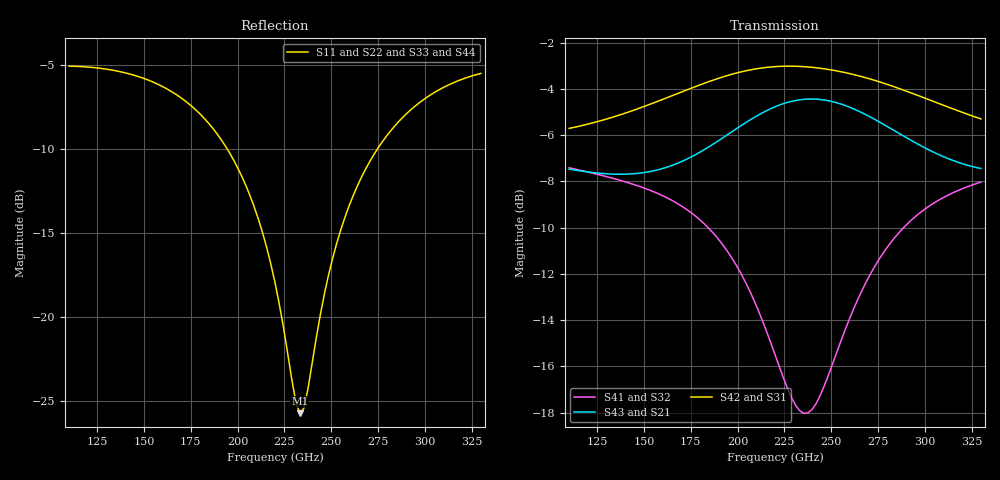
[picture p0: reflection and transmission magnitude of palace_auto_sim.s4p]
#  GHZ S DB R 50
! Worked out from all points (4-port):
!   101 points, 110 GHz to 330 GHz, reference 50 ohm
!   strongest paths, dB at 110 GHz, 165 GHz, 220 GHz, 275 GHz, 330 GHz:
!     S42: -5.7, -4.3, -3.0, -3.7, -5.3
!     S31: -5.7, -4.3, -3.0, -3.7, -5.3
!     S43: -7.5, -7.3, -4.8, -5.4, -7.4
!     S21: -7.5, -7.3, -4.8, -5.4, -7.4
!     S41: -7.4, -8.8, -15.5, -11.4, -8.0
!     S32: -7.4, -8.8, -15.5, -11.5, -8.0
!   lowest |S11| = -25.7 dB at 233.2 GHz (marker M1), VSWR 1.11, Z = 55.4 - j0.604 ohm
!   |S11| at or under -10 dB: 194.4 GHz to 274.8 GHz (80.46 GHz wide, 34.3 % of centre)
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110  -5.10 157.4  -7.47 -49.7  -5.71 -79.0  -7.41 -61.7
     -7.47 -49.7  -5.10 157.4  -7.41 -61.7  -5.71 -79.0
     -5.71 -79.0  -7.41 -61.7  -5.10 157.4  -7.47 -49.7
     -7.41 -61.7  -5.71 -79.0  -7.47 -49.7  -5.09 157.4
156.2  -6.11 133.1  -7.52 -61.2  -4.57 -113.7  -8.48 -88.0
       -7.52 -61.2  -6.11 133.1  -8.48 -88.0  -4.57 -113.7
       -4.57 -113.7  -8.48 -88.0  -6.11 133.1  -7.52 -61.1
       -8.48 -88.0  -4.57 -113.7  -7.52 -61.1  -6.10 133.1
191.4  -9.49 105.2  -6.15 -71.6  -3.50 -145.4  -10.67 -111.3
       -6.15 -71.6  -9.48 105.2  -10.66 -111.4  -3.50 -145.3
       -3.50 -145.4  -10.66 -111.4  -9.49 105.1  -6.15 -71.5
       -10.67 -111.3  -3.50 -145.3  -6.15 -71.5  -9.47 105.2
213.4  -15.01 78.9  -5.03 -84.2  -3.09 -167.8  -14.04 -120.8
       -5.03 -84.2  -14.99 78.9  -14.03 -120.9  -3.09 -167.7
       -3.09 -167.8  -14.03 -120.9  -15.01 78.7  -5.03 -84.2
       -14.04 -120.8  -3.09 -167.7  -5.03 -84.2  -14.97 78.9
233.2  -25.72 -6.0  -4.47 -99.5  -3.03 171.5  -17.91 -102.9
       -4.47 -99.5  -25.65 -5.5  -17.93 -103.1  -3.03 171.5
       -3.03 171.5  -17.93 -103.1  -25.62 -6.4  -4.47 -99.5
       -17.91 -102.9  -3.03 171.5  -4.47 -99.5  -25.68 -4.9
268.4  -11.21 -117.3  -5.11 -126.7  -3.52 135.8  -12.40 -75.1
       -5.11 -126.7  -11.22 -117.1  -12.42 -75.1  -3.52 135.8
       -3.52 135.8  -12.42 -75.1  -11.20 -117.2  -5.11 -126.6
       -12.40 -75.1  -3.52 135.8  -5.11 -126.6  -11.24 -117.2
330  -5.52 -162.0  -7.45 -151.7  -5.31 82.1  -8.03 -114.0
     -7.45 -151.7  -5.53 -161.9  -8.04 -113.9  -5.30 82.2
     -5.31 82.1  -8.04 -113.9  -5.52 -162.0  -7.44 -151.6
     -8.03 -114.0  -5.30 82.2  -7.44 -151.6  -5.53 -162.0
